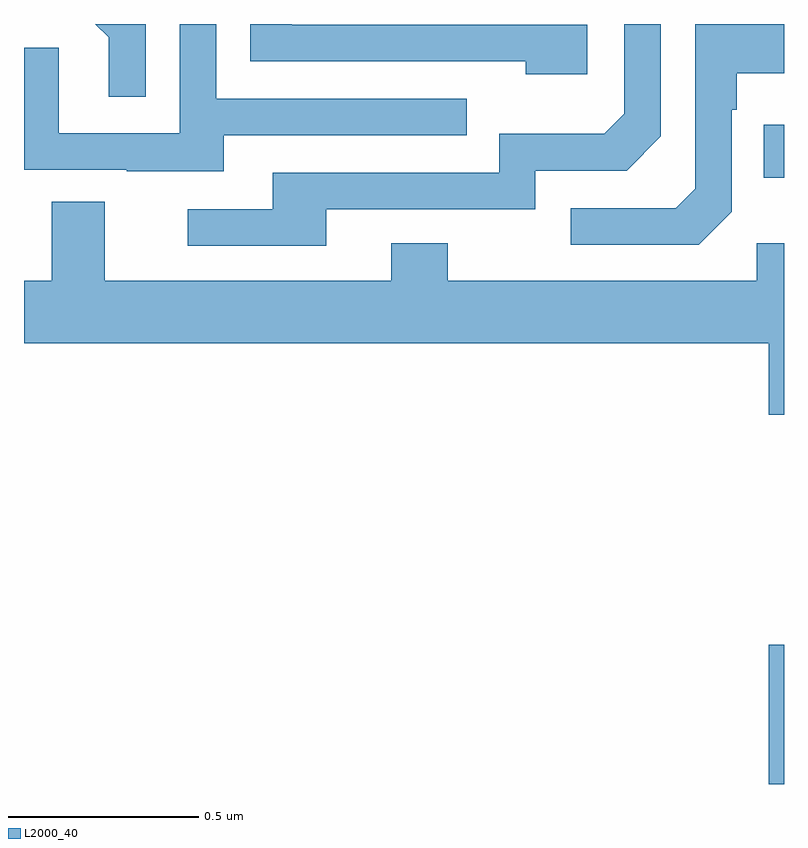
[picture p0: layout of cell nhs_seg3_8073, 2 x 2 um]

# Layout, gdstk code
import gdstk
lib = gdstk.Library(unit=1e-6, precision=1e-09)
def R(c, l, rs):  # rectangles x0, y0, x1, y1
    for r in rs: c.add(gdstk.rectangle(r[:2], r[2:], *l))
def P(c, l, *ps):  # polygons
    for p in ps: c.add(gdstk.Polygon(p, *l))
L2000_40 = (2000, 40)

nhs_seg3_8073 = lib.new_cell('nhs_seg3_8073')
R(nhs_seg3_8073, L2000_40, [(212.96,722.4,213,722.767), (212.947,723.995,213,724.135)])
P(nhs_seg3_8073, L2000_40, [(211.525,724.107),(212.165,724.107),(212.165,724.203),(211.506,724.203),(211.506,724.4),(211.41,724.4),(211.41,724.113),(211.092,724.113),(211.092,724.337),(211,724.337),(211,724.017),(211.271,724.017),(211.271,724.013),(211.525,724.013)],
  [(212.482,724.398),(211.705,724.398),(211.705,724.4),(211.596,724.4),(211.596,724.302),(212.321,724.302),(212.321,724.268),(212.482,724.268)],
  [(211.32,724.4),(211.188,724.4),(211.223,724.365),(211.223,724.209),(211.32,724.209)],
  [(212.862,723.906),(212.862,724.175),(212.875,724.175),(212.875,724.271),(213,724.271),(213,724.4),(212.766,724.4),(212.766,723.966),(212.715,723.915),(212.439,723.915),(212.439,723.819),(212.775,723.819)],
  [(211.795,723.912),(212.346,723.912),(212.346,724.014),(212.586,724.014),(212.676,724.104),(212.676,724.4),(212.58,724.4),(212.58,724.164),(212.527,724.111),(212.25,724.111),(212.25,724.008),(211.655,724.008),(211.655,723.912),(211.431,723.912),(211.431,723.816),(211.795,723.816)],
  [(213,723.823),(212.928,723.823),(212.928,723.724),(212.115,723.724),(212.115,723.823),(211.967,723.823),(211.967,723.724),(211.213,723.724),(211.213,723.932),(211.073,723.932),(211.073,723.724),(211,723.724),(211,723.56),(212.96,723.56),(212.96,723.372),(213,723.372)])

lib.write_gds('nhs_seg3_8073.gds')
